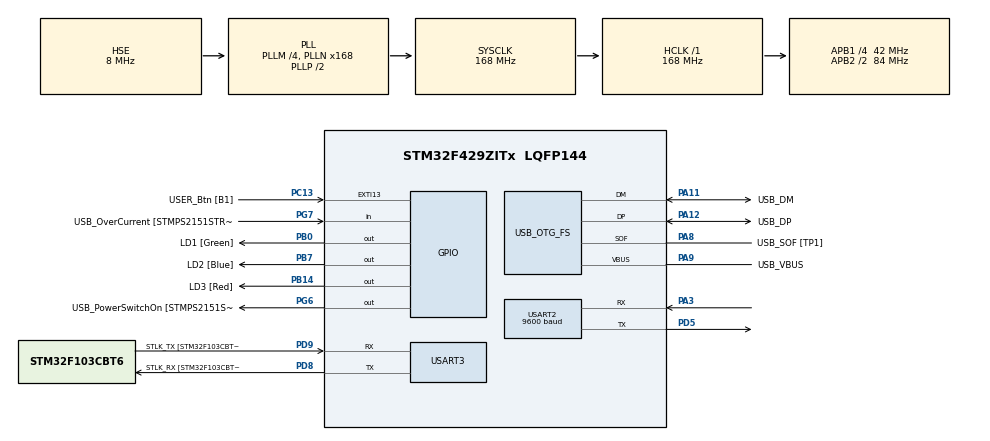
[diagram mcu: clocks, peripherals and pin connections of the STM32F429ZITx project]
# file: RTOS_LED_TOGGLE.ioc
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FREERTOS.Tasks01=Yavuz,24,128,yavuz_init,Default,NULL,Dynamic,NULL,NULL;Tarkan,8,128,tarkan_init,Default,NULL,Dynamic,NULL,NULL;Ayberk,8,128,ayberk_init,Default,NULL,Dynamic,NULL,NULL;Ahmet,8,128,ahmet_init,Default,NULL,Dynamic,NULL,NULL;Ferhat,8,128,ferhat_init,Default,NULL,Dynamic,NULL,NULL;Tahir,8,128,ferhat_init,Default,NULL,Dynamic,NULL,NULL
Mcu.Family=STM32F4
Mcu.Name=STM32F429ZITx
Mcu.Package=LQFP144
NVIC.PriorityGroup=NVIC_PRIORITYGROUP_4
PA1.GPIO_Label=RMII_REF_CLK [LAN8742A-CZ-TR_REFCLK0]
PA1.Signal=ETH_REF_CLK
PA10.GPIO_Label=USB_ID
PA10.Signal=USB_OTG_FS_ID
PA11.GPIO_Label=USB_DM
PA11.Mode=Device_Only
PA11.Signal=USB_OTG_FS_DM
PA12.GPIO_Label=USB_DP
PA12.Mode=Device_Only
PA12.Signal=USB_OTG_FS_DP
PA13.GPIO_Label=TMS
PA13.Mode=Serial_Wire
PA13.Signal=SYS_JTMS-SWDIO
PA14.GPIO_Label=TCK
PA14.Mode=Serial_Wire
PA14.Signal=SYS_JTCK-SWCLK
PA2.GPIO_Label=RMII_MDIO [LAN8742A-CZ-TR_MDIO]
PA2.Signal=ETH_MDIO
PA3.Mode=Asynchronous
PA3.Signal=USART2_RX
PA7.GPIO_Label=RMII_CRS_DV [LAN8742A-CZ-TR_CRS_DV]
PA7.Signal=ETH_CRS_DV
PA8.GPIO_Label=USB_SOF [TP1]
PA8.Mode=Activate_SOF_FS
PA8.Signal=USB_OTG_FS_SOF
PA9.GPIO_Label=USB_VBUS
PA9.Mode=Activate_VBUS
PA9.Signal=USB_OTG_FS_VBUS
PB0.GPIO_Label=LD1 [Green]
PB0.Signal=GPIO_Output
PB13.GPIO_Label=RMII_TXD1 [LAN8742A-CZ-TR_TXD1]
PB13.Signal=ETH_TXD1
PB14.GPIO_Label=LD3 [Red]
PB14.Signal=GPIO_Output
PB7.GPIO_Label=LD2 [Blue]
PB7.Signal=GPIO_Output
PC1.GPIO_Label=RMII_MDC [LAN8742A-CZ-TR_MDC]
PC1.Signal=ETH_MDC
PC13.GPIO_Label=USER_Btn [B1]
PC13.Signal=GPXTI13
PC14/OSC32_IN.Mode=LSE-External-Oscillator
PC14/OSC32_IN.Signal=RCC_OSC32_IN
PC15/OSC32_OUT.Mode=LSE-External-Oscillator
PC15/OSC32_OUT.Signal=RCC_OSC32_OUT
PC4.GPIO_Label=RMII_RXD0 [LAN8742A-CZ-TR_RXD0]
PC4.Signal=ETH_RXD0
PC5.GPIO_Label=RMII_RXD1 [LAN8742A-CZ-TR_RXD1]
PC5.Signal=ETH_RXD1
PD5.Mode=Asynchronous
PD5.Signal=USART2_TX
PD8.GPIO_Label=STLK_RX [STM32F103CBT6_PA3]
PD8.Mode=Asynchronous
PD8.Signal=USART3_TX
PD9.GPIO_Label=STLK_TX [STM32F103CBT6_PA2]
PD9.Mode=Asynchronous
PD9.Signal=USART3_RX
PG11.GPIO_Label=RMII_TX_EN [LAN8742A-CZ-TR_TXEN]
PG11.Signal=ETH_TX_EN
PG13.GPIO_Label=RMII_TXD0 [LAN8742A-CZ-TR_TXD0]
PG13.Signal=ETH_TXD0
PG6.GPIO_Label=USB_PowerSwitchOn [STMPS2151STR_EN]
PG6.Signal=GPIO_Output
PG7.GPIO_Label=USB_OverCurrent [STMPS2151STR_FAULT]
PG7.Signal=GPIO_Input
PH0/OSC_IN.GPIO_Label=MCO [STM32F103CBT6_PA8]
PH0/OSC_IN.Mode=HSE-External-Clock-Source
PH0/OSC_IN.Signal=RCC_OSC_IN
PH1/OSC_OUT.Mode=HSE-External-Clock-Source
PH1/OSC_OUT.Signal=RCC_OSC_OUT
ProjectManager.HeapSize=0x200
ProjectManager.StackSize=0x400
ProjectManager.TargetToolchain=STM32CubeIDE
RCC.48MHZClocksFreq_Value=48000000
RCC.AHBFreq_Value=168000000
RCC.APB1CLKDivider=RCC_HCLK_DIV4
RCC.APB1Freq_Value=42000000
RCC.APB1TimFreq_Value=84000000
RCC.APB2CLKDivider=RCC_HCLK_DIV2
RCC.APB2Freq_Value=84000000
RCC.APB2TimCLKDivider=2
RCC.APB2TimFreq_Value=168000000
RCC.CortexFreq_Value=168000000
RCC.HCLKFreq_Value=168000000
RCC.HSE_VALUE=8000000
RCC.HSI_VALUE=16000000
RCC.PLLM=4
RCC.PLLMUL=RCC_PLL_MUL9
RCC.PLLN=168
RCC.PLLQ=7
RCC.PRESCALERUSB=RCC_USBCLKSOURCE_PLL_DIV1_5
RCC.SYSCLKFreq_VALUE=168000000
RCC.SYSCLKSource=RCC_SYSCLKSOURCE_PLLCLK
RCC.SYSCLKSourceVirtual=RCC_SYSCLKSOURCE_PLLCLK
RCC.USBFreq_Value=48000000
RCC.VCOOutputFreq_Value=336000000
USART2.BaudRate=9600
USART2.VirtualMode=VM_ASYNC
USART3.VirtualMode=VM_ASYNC
USB_OTG_FS.VirtualMode=Device_Only
VP_FREERTOS_VS_CMSIS_V2.Mode=CMSIS_V2
board=NUCLEO-F429ZI

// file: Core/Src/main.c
/* USER CODE BEGIN Header */
/**
  ******************************************************************************
  * @file           : main.c
  * @brief          : Main program body
  ******************************************************************************
  * @attention
  *
  * <h2><center>&copy; Copyright (c) 2020 STMicroelectronics.
  * All rights reserved.</center></h2>
  *
  * This software component is licensed by ST under BSD 3-Clause license,
  * the "License"; You may not use this file except in compliance with the
  * License. You may obtain a copy of the License at:
  *                        opensource.org/licenses/BSD-3-Clause
  *
  ******************************************************************************
  */
/* USER CODE END Header */
#include "main.h"
#include "cmsis_os.h"
#include "string.h"
#include <stdarg.h>

UART_HandleTypeDef huart2;
UART_HandleTypeDef huart3;

PCD_HandleTypeDef hpcd_USB_OTG_FS;

/* Definitions for Yavuz */
osThreadId_t YavuzHandle;
const osThreadAttr_t Yavuz_attributes = {
  .name = "Yavuz",
  .priority = (osPriority_t) osPriorityNormal,
  .stack_size = 128 * 4
};
/* Definitions for Tarkan */
osThreadId_t TarkanHandle;
const osThreadAttr_t Tarkan_attributes = {
  .name = "Tarkan",
  .priority = (osPriority_t) osPriorityLow,
  .stack_size = 128 * 4
};
/* Definitions for Ayberk */
osThreadId_t AyberkHandle;
const osThreadAttr_t Ayberk_attributes = {
  .name = "Ayberk",
  .priority = (osPriority_t) osPriorityLow,
  .stack_size = 128 * 4
};
/* Definitions for Ahmet */
osThreadId_t AhmetHandle;
const osThreadAttr_t Ahmet_attributes = {
  .name = "Ahmet",
  .priority = (osPriority_t) osPriorityLow,
  .stack_size = 128 * 4
};
/* Definitions for Ferhat */
osThreadId_t FerhatHandle;
const osThreadAttr_t Ferhat_attributes = {
  .name = "Ferhat",
  .priority = (osPriority_t) osPriorityLow,
  .stack_size = 128 * 4
};
/* Definitions for Tahir */
osThreadId_t TahirHandle;
const osThreadAttr_t Tahir_attributes = {
  .name = "Tahir",
  .priority = (osPriority_t) osPriorityLow,
  .stack_size = 128 * 4
};

void SystemClock_Config(void);
void uart_string_transmit(const char * format, ...);
static void MX_GPIO_Init(void);
static void MX_USART3_UART_Init(void);
static void MX_USB_OTG_FS_PCD_Init(void);
static void MX_USART2_UART_Init(void);
void yavuz_init(void *argument);
void tarkan_init(void *argument);
void ayberk_init(void *argument);
void ahmet_init(void *argument);
void ferhat_init(void *argument);

int main(void)
{

  /* MCU Configuration--------------------------------------------------------*/

  /* Reset of all peripherals, Initializes the Flash interface and the Systick. */
  HAL_Init();

  /* Configure the system clock */
  SystemClock_Config();

  /* Initialize all configured peripherals */
  MX_GPIO_Init();
  MX_USART3_UART_Init();
  MX_USB_OTG_FS_PCD_Init();
  MX_USART2_UART_Init();

  /* Init scheduler */
  osKernelInitialize();

  /* Create the thread(s) */
  /* creation of Yavuz */
  YavuzHandle = osThreadNew(yavuz_init, NULL, &Yavuz_attributes);

  /* creation of Tarkan */
  TarkanHandle = osThreadNew(tarkan_init, NULL, &Tarkan_attributes);

  /* creation of Ayberk */
  AyberkHandle = osThreadNew(ayberk_init, NULL, &Ayberk_attributes);

  /* creation of Ahmet */
  AhmetHandle = osThreadNew(ahmet_init, NULL, &Ahmet_attributes);

  /* creation of Ferhat */
  FerhatHandle = osThreadNew(ferhat_init, NULL, &Ferhat_attributes);

  /* creation of Tahir */
  TahirHandle = osThreadNew(ferhat_init, NULL, &Tahir_attributes);

  /* Start scheduler */
  osKernelStart();

  /* We should never get here as control is now taken by the scheduler */
  /* Infinite loop */
  while (1)
  {

  }
}

void uart_string_transmit(const char * format, ...) {
	va_list args;
	uint8_t buffer[100] = { 0 };

	memset(buffer, 0, 100);

	va_start(args, format);
	vsnprintf((char*) buffer, 100, format, args);
	va_end(args);

	HAL_UART_Transmit(&huart2, buffer, 100, 1000);
}

void SystemClock_Config(void)
{
  RCC_OscInitTypeDef RCC_OscInitStruct = {0};
  RCC_ClkInitTypeDef RCC_ClkInitStruct = {0};

  /** Configure the main internal regulator output voltage
  */
  __HAL_RCC_PWR_CLK_ENABLE();
  __HAL_PWR_VOLTAGESCALING_CONFIG(PWR_REGULATOR_VOLTAGE_SCALE1);
  /** Initializes the RCC Oscillators according to the specified parameters
  * in the RCC_OscInitTypeDef structure.
  */
  RCC_OscInitStruct.OscillatorType = RCC_OSCILLATORTYPE_HSE;
  RCC_OscInitStruct.HSEState = RCC_HSE_BYPASS;
  RCC_OscInitStruct.PLL.PLLState = RCC_PLL_ON;
  RCC_OscInitStruct.PLL.PLLSource = RCC_PLLSOURCE_HSE;
  RCC_OscInitStruct.PLL.PLLM = 4;
  RCC_OscInitStruct.PLL.PLLN = 168;
  RCC_OscInitStruct.PLL.PLLP = RCC_PLLP_DIV2;
  RCC_OscInitStruct.PLL.PLLQ = 7;
  if (HAL_RCC_OscConfig(&RCC_OscInitStruct) != HAL_OK)
  {
    Error_Handler();
  }
  /** Initializes the CPU, AHB and APB buses clocks
  */
  RCC_ClkInitStruct.ClockType = RCC_CLOCKTYPE_HCLK|RCC_CLOCKTYPE_SYSCLK
                              |RCC_CLOCKTYPE_PCLK1|RCC_CLOCKTYPE_PCLK2;
  RCC_ClkInitStruct.SYSCLKSource = RCC_SYSCLKSOURCE_PLLCLK;
  RCC_ClkInitStruct.AHBCLKDivider = RCC_SYSCLK_DIV1;
  RCC_ClkInitStruct.APB1CLKDivider = RCC_HCLK_DIV4;
  RCC_ClkInitStruct.APB2CLKDivider = RCC_HCLK_DIV2;

  if (HAL_RCC_ClockConfig(&RCC_ClkInitStruct, FLASH_LATENCY_5) != HAL_OK)
  {
    Error_Handler();
  }
}

static void MX_USART2_UART_Init(void)
{

  huart2.Instance = USART2;
  huart2.Init.BaudRate = 9600;
  huart2.Init.WordLength = UART_WORDLENGTH_8B;
  huart2.Init.StopBits = UART_STOPBITS_1;
  huart2.Init.Parity = UART_PARITY_NONE;
  huart2.Init.Mode = UART_MODE_TX_RX;
  huart2.Init.HwFlowCtl = UART_HWCONTROL_NONE;
  huart2.Init.OverSampling = UART_OVERSAMPLING_16;
  if (HAL_UART_Init(&huart2) != HAL_OK)
  {
    Error_Handler();
  }

}

static void MX_USART3_UART_Init(void)
{

  huart3.Instance = USART3;
  huart3.Init.BaudRate = 115200;
  huart3.Init.WordLength = UART_WORDLENGTH_8B;
  huart3.Init.StopBits = UART_STOPBITS_1;
  huart3.Init.Parity = UART_PARITY_NONE;
  huart3.Init.Mode = UART_MODE_TX_RX;
  huart3.Init.HwFlowCtl = UART_HWCONTROL_NONE;
  huart3.Init.OverSampling = UART_OVERSAMPLING_16;
  if (HAL_UART_Init(&huart3) != HAL_OK)
  {
    Error_Handler();
  }

}

static void MX_USB_OTG_FS_PCD_Init(void)
{

  hpcd_USB_OTG_FS.Instance = USB_OTG_FS;
  hpcd_USB_OTG_FS.Init.dev_endpoints = 4;
  hpcd_USB_OTG_FS.Init.speed = PCD_SPEED_FULL;
  hpcd_USB_OTG_FS.Init.dma_enable = DISABLE;
  hpcd_USB_OTG_FS.Init.phy_itface = PCD_PHY_EMBEDDED;
  hpcd_USB_OTG_FS.Init.Sof_enable = ENABLE;
  hpcd_USB_OTG_FS.Init.low_power_enable = DISABLE;
  hpcd_USB_OTG_FS.Init.lpm_enable = DISABLE;
  hpcd_USB_OTG_FS.Init.vbus_sensing_enable = ENABLE;
  hpcd_USB_OTG_FS.Init.use_dedicated_ep1 = DISABLE;
  if (HAL_PCD_Init(&hpcd_USB_OTG_FS) != HAL_OK)
  {
    Error_Handler();
  }

}

static void MX_GPIO_Init(void)
{
  GPIO_InitTypeDef GPIO_InitStruct = {0};

  /* GPIO Ports Clock Enable */
  __HAL_RCC_GPIOC_CLK_ENABLE();
  __HAL_RCC_GPIOH_CLK_ENABLE();
  __HAL_RCC_GPIOA_CLK_ENABLE();
  __HAL_RCC_GPIOB_CLK_ENABLE();
  __HAL_RCC_GPIOD_CLK_ENABLE();
  __HAL_RCC_GPIOG_CLK_ENABLE();

  /*Configure GPIO pin Output Level */
  HAL_GPIO_WritePin(GPIOB, LD1_Pin|LD3_Pin|LD2_Pin, GPIO_PIN_RESET);

  /*Configure GPIO pin Output Level */
  HAL_GPIO_WritePin(USB_PowerSwitchOn_GPIO_Port, USB_PowerSwitchOn_Pin, GPIO_PIN_RESET);

  /*Configure GPIO pin : USER_Btn_Pin */
  GPIO_InitStruct.Pin = USER_Btn_Pin;
  GPIO_InitStruct.Mode = GPIO_MODE_IT_RISING;
  GPIO_InitStruct.Pull = GPIO_NOPULL;
  HAL_GPIO_Init(USER_Btn_GPIO_Port, &GPIO_InitStruct);

  /*Configure GPIO pins : RMII_MDC_Pin RMII_RXD0_Pin RMII_RXD1_Pin */
  GPIO_InitStruct.Pin = RMII_MDC_Pin|RMII_RXD0_Pin|RMII_RXD1_Pin;
  GPIO_InitStruct.Mode = GPIO_MODE_AF_PP;
  GPIO_InitStruct.Pull = GPIO_NOPULL;
  GPIO_InitStruct.Speed = GPIO_SPEED_FREQ_VERY_HIGH;
  GPIO_InitStruct.Alternate = GPIO_AF11_ETH;
  HAL_GPIO_Init(GPIOC, &GPIO_InitStruct);

  /*Configure GPIO pins : RMII_REF_CLK_Pin RMII_MDIO_Pin RMII_CRS_DV_Pin */
  GPIO_InitStruct.Pin = RMII_REF_CLK_Pin|RMII_MDIO_Pin|RMII_CRS_DV_Pin;
  GPIO_InitStruct.Mode = GPIO_MODE_AF_PP;
  GPIO_InitStruct.Pull = GPIO_NOPULL;
  GPIO_InitStruct.Speed = GPIO_SPEED_FREQ_VERY_HIGH;
  GPIO_InitStruct.Alternate = GPIO_AF11_ETH;
  HAL_GPIO_Init(GPIOA, &GPIO_InitStruct);

  /*Configure GPIO pins : LD1_Pin LD3_Pin LD2_Pin */
  GPIO_InitStruct.Pin = LD1_Pin|LD3_Pin|LD2_Pin;
  GPIO_InitStruct.Mode = GPIO_MODE_OUTPUT_PP;
  GPIO_InitStruct.Pull = GPIO_NOPULL;
  GPIO_InitStruct.Speed = GPIO_SPEED_FREQ_LOW;
  HAL_GPIO_Init(GPIOB, &GPIO_InitStruct);

  /*Configure GPIO pin : RMII_TXD1_Pin */
  GPIO_InitStruct.Pin = RMII_TXD1_Pin;
  GPIO_InitStruct.Mode = GPIO_MODE_AF_PP;
  GPIO_InitStruct.Pull = GPIO_NOPULL;
  GPIO_InitStruct.Speed = GPIO_SPEED_FREQ_VERY_HIGH;
  GPIO_InitStruct.Alternate = GPIO_AF11_ETH;
  HAL_GPIO_Init(RMII_TXD1_GPIO_Port, &GPIO_InitStruct);

  /*Configure GPIO pin : USB_PowerSwitchOn_Pin */
  GPIO_InitStruct.Pin = USB_PowerSwitchOn_Pin;
  GPIO_InitStruct.Mode = GPIO_MODE_OUTPUT_PP;
  GPIO_InitStruct.Pull = GPIO_NOPULL;
  GPIO_InitStruct.Speed = GPIO_SPEED_FREQ_LOW;
  HAL_GPIO_Init(USB_PowerSwitchOn_GPIO_Port, &GPIO_InitStruct);

  /*Configure GPIO pin : USB_OverCurrent_Pin */
  GPIO_InitStruct.Pin = USB_OverCurrent_Pin;
  GPIO_InitStruct.Mode = GPIO_MODE_INPUT;
  GPIO_InitStruct.Pull = GPIO_NOPULL;
  HAL_GPIO_Init(USB_OverCurrent_GPIO_Port, &GPIO_InitStruct);

  /*Configure GPIO pins : RMII_TX_EN_Pin RMII_TXD0_Pin */
  GPIO_InitStruct.Pin = RMII_TX_EN_Pin|RMII_TXD0_Pin;
  GPIO_InitStruct.Mode = GPIO_MODE_AF_PP;
  GPIO_InitStruct.Pull = GPIO_NOPULL;
  GPIO_InitStruct.Speed = GPIO_SPEED_FREQ_VERY_HIGH;
  GPIO_InitStruct.Alternate = GPIO_AF11_ETH;
  HAL_GPIO_Init(GPIOG, &GPIO_InitStruct);

}

void yavuz_init(void *argument)
{
  /* USER CODE BEGIN 5 */
  /* Infinite loop */
  for(;;)
  {
	  HAL_GPIO_TogglePin(LD1_GPIO_Port, LD1_Pin);
	  osDelay(500);
  }
  /* USER CODE END 5 */
}

void tarkan_init(void *argument)
{
  /* USER CODE BEGIN tarkan_init */
  /* Infinite loop */
  for(;;)
  {
	  HAL_GPIO_TogglePin(LD2_GPIO_Port, LD2_Pin);
	  osDelay(500);
  }
  /* USER CODE END tarkan_init */
}

void ayberk_init(void *argument)
{
  /* USER CODE BEGIN ayberk_init */
  /* Infinite loop */
  for(;;)
  {
	  HAL_GPIO_TogglePin(LD3_GPIO_Port, LD3_Pin);
	  osDelay(500);
  }
  /* USER CODE END ayberk_init */
}

void ahmet_init(void *argument) {
	/* USER CODE BEGIN ahmet_init */
	/* Infinite loop */
	uint8_t uartString[100];
	float b = 0;
	int a=0;
	for (;;) {
		b += 0.2;
		a += 1;
		memset(uartString, 0, 100);
		sprintf((char *)uartString,"test string %d %d \n\r",a,(int)b);
	//	uart_string_transmit("Test %d %f\n\r", a, b);
		HAL_UART_Transmit(&huart2, uartString, 100, 200);
		osDelay(500);
	}
	/* USER CODE END ahmet_init */
}

void ferhat_init(void *argument)
{
  for(;;)
  {
    osDelay(1);
  }
}

void Error_Handler(void)
{
}

/************************ (C) COPYRIGHT STMicroelectronics *****END OF FILE****/
